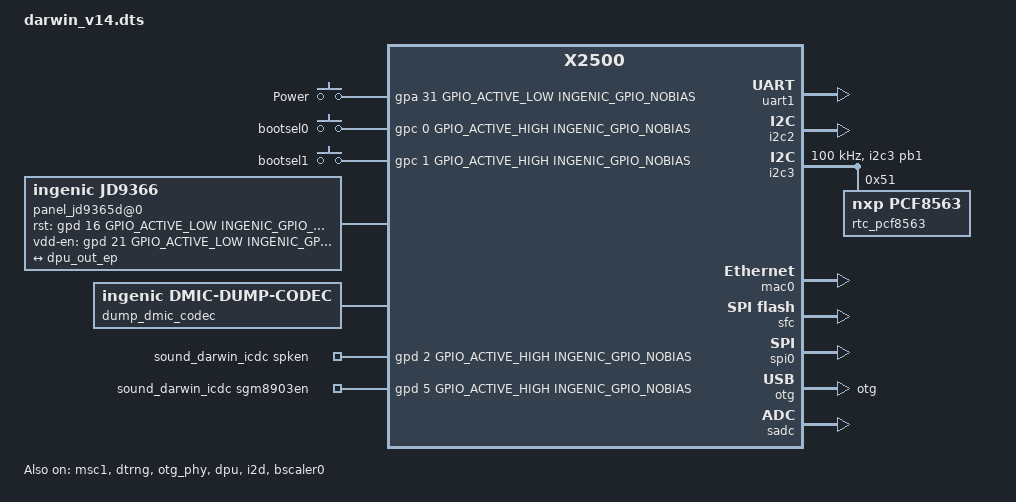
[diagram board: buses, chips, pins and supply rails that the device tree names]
/dts-v1/;

#include <dt-bindings/input/input.h>
#include "x2500.dtsi"
#include <dt-bindings/interrupt-controller/irq.h>
#include <generated/autoconf.h>

#ifdef CONFIG_INGENIC_ISP_V2_CAMERA_GC2093
#include "darwin_cameras/gc2093.dtsi"
#elif CONFIG_INGENIC_ISP_V2_CAMERA_SC2310
#include "darwin_cameras/sc2310.dtsi"
#endif

/ {
	compatible = "ingenic,darwin", "ingenic,x2500";
};

&uart0 {
	status = "disable";
};

&uart1 {
	status = "okay";
	pinctrl-names = "default";
	pinctrl-0 = <&uart1_pb>;
};

&uart2 {
	status = "disable";
};


&i2c2 {
	pinctrl-0 = <&i2c2_pc>;
	pinctrl-names = "default";
	status = "okay";
};

&i2c3 {
	clock-frequency = <100000>;
	timeout = <1000>;
	pinctrl-0 = <&i2c3_pb1>;
	pinctrl-names = "default";
	status = "okay";
	rtc_pcf8563:rtc_pcf8563@0x51{
		compatible = "nxp,pcf8563";
		reg = <0x51>;
		status = "ok";
	    };
};

&cpufreq {
	status = "disable";
	operating-points = <
		/*KHZ uV */
		1200000	900000
		750000	900000
		600000	900000
		500000	900000
		400000	900000
		375000	900000
		300000	900000
		200000	900000
			>;

};

//&pwm {
//	ingenic,pwm-outputs = <0>; /* <0 - 15> select which pwms are really used */
//}

&pdma {
	status = "okay";
};

&msc0 {
	status = "disable";
	pinctrl-names = "default";
	pinctrl-0 = <&msc0_pb>;
	/*mmc-hs200-1_8v;*/
	cap-mmc-highspeed;
	max-frequency = <25000000>;
	bus-width = <4>;
	voltage-ranges = <1800 3300>;
	cd-gpios = <0>;
	/* special property */
	ingenic,rst-gpios = <0>;
	ingenic,pwr-gpios = <0>;
};

&msc1 {
	status = "okay";
	pinctrl-names = "default";
	mmc-hs200-1_8v;
	/* cap-mmc-highspeed; */
	max-frequency = <100000000>;
	bus-width = <4>;
	voltage-ranges = <1800 3300>;
	non-removable;

	/* special property */
	ingenic,wp-gpios = <0>;
	ingenic,rst-gpios = <0>;
	pinctrl-0 = <&msc1_pc>;
	ingenic,rst-gpio = <&gpc 21 GPIO_ACTIVE_LOW INGENIC_GPIO_NOBIAS>;
};

&mac0 {
	pinctrl-names = "default", "reset";
	pinctrl-0 = <&mac0_rmii_p0_normal>, <&mac0_rmii_p1_normal>;
	pinctrl-1 = <&mac0_rmii_p0_rst>, <&mac0_rmii_p1_normal>;
	status = "okay";
	ingenic,rst-gpio = <&gpb 22 GPIO_ACTIVE_LOW INGENIC_GPIO_NOBIAS>;
	ingenic,rst-ms = <10>;
	ingenic,mac-mode = <RMII>;
	ingenic,mode-reg = <0xb00000e8>;
	ingenic,phy-clk-freq = <50000000>;
};

&sfc {
	status = "okay";
	pinctrl-names = "default";
	pinctrl-0 = <&sfc_pa>;
	ingenic,sfc-init-frequency = <20000000>;
	ingenic,sfc-max-frequency = <50000000>;
	ingenic,use_ofpart_info      = /bits/ 8 <0>;
	ingenic,spiflash_param_offset = <0>;
};

&spi0 {
	status = "okay";
	pinctrl-names = "default";
	pinctrl-0 = <&spi0_pc>;

	spi-max-frequency = <48000000>;
	num-cs = <2>;
	cs-gpios = <0>, <0>;
	ingenic,chnl = <0>;
	ingenic,allow_cs_same = <1>;
	ingenic,bus_num = <0>;
	ingenic,has_dma_support = <1>;
};

&dtrng {
	status = "okay";
};

&otg {
	g-use-dma;
	dr_mode = "otg";
	status = "okay";
};

&otg_phy {
	dr_mode = "otg";
	compatible = "ingenic,innophy-x2500", "syscon";
	ingenic,drvvbus-gpio = <&gpb 27 GPIO_ACTIVE_HIGH INGENIC_GPIO_NOBIAS>;
	status = "okay";
};

/ {

	extclk: extclk {
		clock-frequency = <24000000>;
	};

	gpio_keys: gpio_keys {
		   compatible = "gpio-keys";

		   power {
			   label = "Power";
			   linux,code = <KEY_POWER>;
			   gpios = <&gpa 31 GPIO_ACTIVE_LOW INGENIC_GPIO_NOBIAS>;
			   gpio-key,wakeup;
		   };
            bootsel0 {
                label = "bootsel0";
                linux,code = <KEY_HOME>;
                gpios = <&gpc 0 GPIO_ACTIVE_HIGH INGENIC_GPIO_NOBIAS>;
            };

            bootsel1 {
                label = "bootsel1";
                linux,code = <KEY_BACK>;
                gpios = <&gpc 1 GPIO_ACTIVE_HIGH INGENIC_GPIO_NOBIAS>;
            };

	};
};

&el150 {
	status = "disable";
};

&sadc{
	status = "okay";
};

&dpu {
	status = "okay";
	ingenic,disable-rdma-fb = <1>;
	ingenic,layer-exported = <1 0 0 0>;
	ingenic,layer-frames   = <2 2 2 2>;
	ingenic,layer-framesize = <800 1280>, <800 1280>, <320 240>, <320 240>;   /*Max framesize for each layer.*/
	layer,color_mode	= <0 0 0 0>;					/*src fmt,*/
	layer,src-size       	= <800 1280>, <800 1280>, <320 240>, <240 200>;	/*Layer src size should smaller than framesize*/
	layer,target-size	= <800 1280>, <400 640>, <160 240>, <240 200>;	/*Target Size should smaller than src_size.*/
	layer,target-pos	= <0 0>, <0 640>, <340 480>, <100 400>;	/*target pos , the start point of the target panel.*/
	layer,enable		= <1 1 1 1>;					/*layer enabled or disabled.*/
	ingenic,logo-pan-layer	= <0>;						/*on which layer should init logo pan on.*/
	port {
		dpu_out_ep: endpoint {
			remote-endpoint = <&panel_jd9366_ep>;
	    };
	};
};

&pwmz{
	pinctrl-0 = <&pwm2_pb>;
};

/ {
	display-dpi {
		compatible = "simple-bus";
		#interrupt-cells = <1>;
		#address-cells = <1>;
		#size-cells = <1>;
		ranges = <>;
		panel_jd9365d@0 {
			compatible = "ingenic,jd9366";
			status = "okay";
			pinctrl-names = "default";
			ingenic,rst-gpio = <&gpd 16 GPIO_ACTIVE_LOW INGENIC_GPIO_NOBIAS>;
			ingenic,vdd-en-gpio = <&gpd 21 GPIO_ACTIVE_LOW INGENIC_GPIO_NOBIAS>;
			/* ingenic,lcd-pwm-gpio = <&gpb 30 GPIO_ACTIVE_LOW INGENIC_GPIO_NOBIAS>; */
			port {
				panel_jd9366_ep: endpoint {
					remote-endpoint = <&dpu_out_ep>;
				};
			};
		};
	};
};
/ {
	dump_dmic_codec:dump_dmic_codec{
		compatible = "ingenic,dmic-dump-codec";
		status = "ok";
	};

	sound_darwin_icdc {
		status = "ok";
		compatible = "ingenic,x2500-sound";
		ingenic,model = "darwin";
		ingenic,dai-link = "i2s-icodec", "dmic";
		ingenic,stream = "i2s-icodec", "dmic";
		ingenic,cpu-dai = <&i2s>, <&dmic>;
		ingenic,platform = <&aic>, <&dmic>;
		ingenic,codec = <&icodec>, <&dump_dmic_codec>;
		ingenic,codec-dai = "icodec", "dmic-dump";
		ingenic,audio-routing = "Speaker", "HPOUTL", "DACL", "MICBIAS" ,
			"ADCL",  "MICL",
			"ADCR",  "MICR";
		ingenic,spken-gpio = <&gpd 2 GPIO_ACTIVE_HIGH INGENIC_GPIO_NOBIAS>;
		ingenic,sgm8903en-gpio = <&gpd 5 GPIO_ACTIVE_HIGH INGENIC_GPIO_NOBIAS>;
	};

};

&soc_nna{
	status = "okay";
};

&i2d{
	status = "okay";
};

&bscaler0{
	status = "okay";
};
